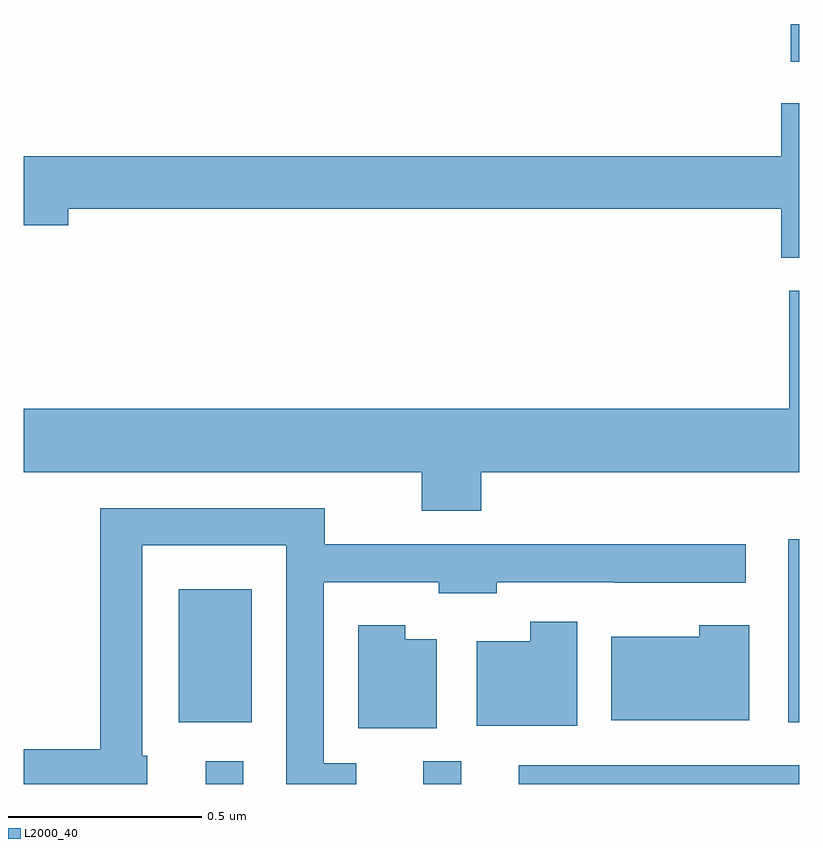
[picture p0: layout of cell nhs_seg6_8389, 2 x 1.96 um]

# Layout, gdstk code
import gdstk
lib = gdstk.Library(unit=1e-6, precision=1e-09)
def R(c, l, rs):  # rectangles x0, y0, x1, y1
    for r in rs: c.add(gdstk.rectangle(r[:2], r[2:], *l))
def P(c, l, *ps):  # polygons
    for p in ps: c.add(gdstk.Polygon(p, *l))
L2000_40 = (2000, 40)

nhs_seg6_8389 = lib.new_cell('nhs_seg6_8389')
R(nhs_seg6_8389, L2000_40, [(220.469,978.5,220.566,978.559), (221.03,978.5,221.128,978.559), (221.277,978.5,222,978.549), (220.4,978.659,220.588,979.003), (221.972,978.659,222,979.132), (221.979,980.364,222,980.461)])
P(nhs_seg6_8389, L2000_40, [(222,980.257),(221.954,980.257),(221.954,980.12),(220,980.12),(220,979.942),(220.114,979.942),(220.114,979.984),(221.954,979.984),(221.954,979.858),(222,979.858)],
  [(221.18,979.304),(222,979.304),(222,979.773),(221.975,979.773),(221.975,979.468),(220,979.468),(220,979.304),(221.027,979.304),(221.027,979.205),(221.18,979.205)],
  [(220.318,978.573),(220.305,978.573),(220.305,979.116),(220.677,979.116),(220.677,978.5),(220.858,978.5),(220.858,978.553),(220.773,978.553),(220.773,979.02),(221.07,979.02),(221.07,978.992),(221.22,978.992),(221.22,979.02),(221.524,979.02),(221.524,979.019),(221.863,979.019),(221.863,979.118),(220.776,979.118),(220.776,979.212),(220.197,979.212),(220.197,978.59),(220,978.59),(220,978.5),(220.318,978.5)],
  [(221.428,978.919),(221.306,978.919),(221.306,978.868),(221.168,978.868),(221.168,978.65),(221.428,978.65)],
  [(221.065,978.874),(220.984,978.874),(220.984,978.91),(220.862,978.91),(220.862,978.644),(221.065,978.644)],
  [(221.872,978.91),(221.743,978.91),(221.743,978.88),(221.516,978.88),(221.516,978.665),(221.872,978.665)])

lib.write_gds('nhs_seg6_8389.gds')
